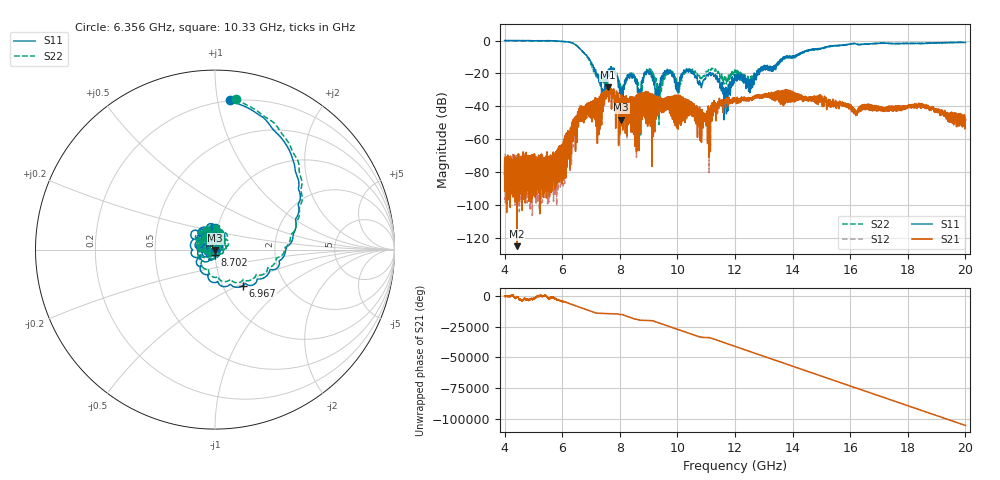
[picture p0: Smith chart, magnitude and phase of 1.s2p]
[Version] 2.0
! Rohde & Schwarz Vector Network Analyzer
! Rohde-Schwarz,ZNL20-2Port,1323001220200009,1.71.1.10-23.02.1.238
! Port Assignments:
! Nominal Port -> Actual Test Port
!  1 -> 1
!  2 -> 2
! Created: GMT+2 2025-01-16 20:20:12
# Hz S RI R 50
[Number of Ports] 2
[Two-Port Data Order] 21_12
! freq[Hz]  S11[Re]  S11[Im]  S21[Re]  S21[Im]  S12[Re]  S12[Im]  S22[Re]  S22[Im]
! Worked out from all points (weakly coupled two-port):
!   16001 points, 4 GHz to 20 GHz, reference 50 ohm
!   highest |S21| = -28.35 dB at 7.589 GHz (marker M1); lowest = -124.9 dB at 4.423 GHz (marker M2)
!   lowest |S11| = -48.1 dB at 8.051 GHz (marker M3), VSWR 1.01, Z = 50 - j0.391 ohm
!   |S11| at or under -10 dB: 6.889 GHz to 13.7 GHz (6.812 GHz wide, 66.2 % of centre); 13.71509 GHz to 13.74354 GHz (28.45 MHz wide, 0.207 % of centre); 13.94341 GHz to 13.96745 GHz (24.04 MHz wide, 0.172 % of centre) (the widest 3 of 9)
!   |S22| runs from -58.1 to 0.0 dB; largest |S21 - S12| = 0.0023
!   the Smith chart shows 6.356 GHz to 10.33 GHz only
!   S11 on the Smith chart (normalised r, x): 6.356 GHz: 0.19, +1.08; 6.967 GHz: 1.24, -0.53; 8.702 GHz: 0.99, -0.06; 10.33 GHz: 0.96, +0.24
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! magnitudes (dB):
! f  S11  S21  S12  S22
! 4 GHz  0.0  -81.2  -77.0  -0.2
! 4.423 GHz  0.0  -124.9  -76.4  -0.1
! 5.774 GHz  -0.2  -67.6  -83.6  -0.4
! 6.356 GHz  -1.5  -51.7  -52.5  -1.4
! 6.667 GHz  -5.9  -41.8  -41.6  -6.0
! 6.967 GHz  -11.9  -38.8  -38.6  -12.7
! 7.402 GHz  -29.7  -34.2  -34.2  -22.1
! 7.589 GHz  -19.2  -28.4  -28.4  -23.0
! 8.051 GHz  -48.1  -50.2  -50.1  -32.0
! 8.427 GHz  -22.9  -41.8  -41.6  -21.8
! 8.702 GHz  -31.1  -32.6  -32.5  -44.1
! 9.001 GHz  -20.3  -33.3  -33.2  -18.9
! 9.334 GHz  -28.4  -34.3  -34.1  -30.7
! 9.583 GHz  -20.6  -38.5  -38.6  -22.1
! 10.05 GHz  -25.7  -33.3  -33.2  -27.7
! 10.33 GHz  -18.1  -36.6  -36.6  -18.3
! 11.07 GHz  -21.6  -39.9  -40.1  -18.3
! 11.68 GHz  -28.5  -39.9  -39.8  -22.6
! 12 GHz  -20.8  -36.1  -36.4  -18.4
! 14.67 GHz  -5.5  -34.7  -34.4  -5.8
! 17.33 GHz  -1.8  -41.0  -41.5  -1.8
! 20 GHz  -1.2  -48.4  -48.1  -1.1
